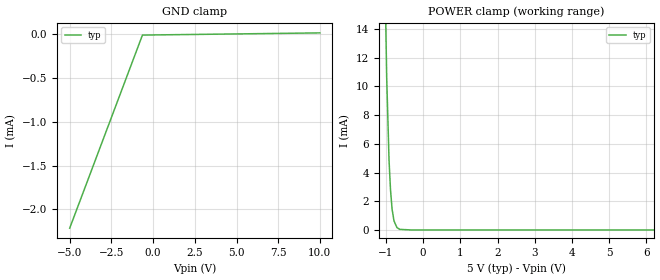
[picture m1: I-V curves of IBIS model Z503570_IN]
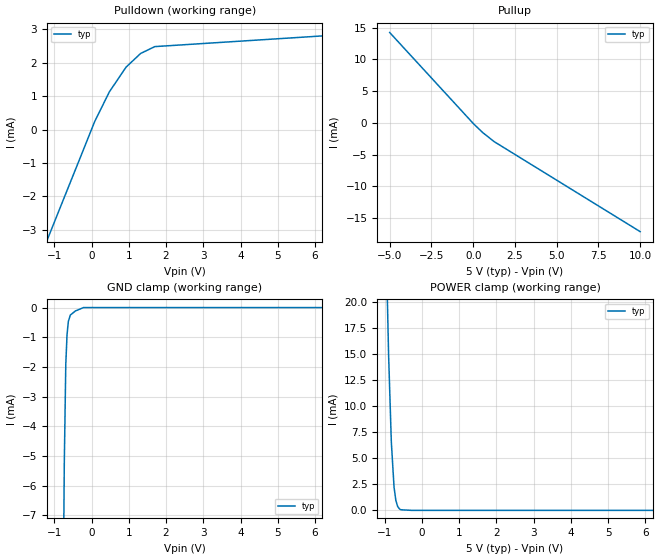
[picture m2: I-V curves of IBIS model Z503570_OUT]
| YOU ARE ONLY AUTHORIZED TO USE THIS SOFTWARE
| ACCORDING TO LICENSOR'S LICENSE RESTRICTIONS.
[IBIS Ver] 3.1
[File Name] mc14078bcl.ibs
[File Rev] 2.0
[Source] Measured and created by ICX Technology
[Date] Friday 7/14/00 9:07:53 AM
[Copyright]
| (C) COPYRIGHT 1993-2000
| MENTOR GRAPHICS CORPORATION
| ICX STANDARD LIBRARY, ICX PROJECT MODELING,
| ICX CUSTOM MODELING, ICX VENDOR MODEL
| ALL RIGHTS RESERVED.
| THE FOLLOWING ARE TRADEMARKS OR SERVICE MARKS OF
| MENTOR GRAPHICS CORPORATION:ICX (R), ICX STANDARD
| LIBRARY(R), ICX PROJECT MODELING(R), ICX CUSTOM
| MODELING(R), qualityIBIS(TM), MODELVIEWER(TM),
| AND MODELEDITOR(TM)
| ALL COPIES OF SOFTWARE, INCLUDING BUT NOT LIMITED TO
| ANY MODIFICATIONS, ENHANCEMENTS OR DERIVATIVE WORKS,
| MUST CONTAIN ALL MENTOR GRAPHICS CORPORATION'S
| NOTICES AND LEGENDS, INCLUDING THOSE EMBEDDED IN
| SOFTWARE AND THOSE AFFIXED TO SOFTWARE MEDIUM
| AND CONTAINER, AS RECEIVED FROM MENTOR GRAPHICS
| CORPORATION.
|  ZAP Model Builder 2.7
[Component] MC14078BCL
[Manufacturer] OnSemiconductor
[Package]
| variable   typ   min   max
R_pkg  .21ohms NA NA
L_pkg  4.543nH NA NA
C_pkg  1.8pF NA NA
[Pin] signal_name  model_name  R_pin  L_pin C_pin
1 NC NC .22 6.757n 2.434p
2 IN1 Z503570_IN .212 4.757n 1.941p
3 IN2 Z503570_IN .204 3.257n 1.448p
4 IN3 Z503570_IN .196 2.257n .955p
5 IN4 Z503570_IN .204 3.257n 1.448p
6 NC NC .212 4.757n 1.941p
7 VSS POWER .22 6.757n 2.434p
8 NC NC .22 6.757n 2.434p
9 IN5 Z503570_IN .212 4.757n 1.941p
10 IN6 Z503570_IN .204 3.257n 1.448p
11 IN7 Z503570_IN .196 2.257n .955p
12 IN8 Z503570_IN .204 3.257n 1.448p
13 OUT Z503570_OUT .212 4.757n 1.941p
14 VDD POWER .22 6.757n 2.434p
| Models and submodels in the file (2): Z503570_IN (Input), Z503570_OUT (Output)
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| (C) COPYRIGHT 1993-2000
| MENTOR GRAPHICS CORPORATION
| ICX STANDARD LIBRARY, ICX PROJECT MODELING,
| ICX CUSTOM MODELING, ICX VENDOR MODEL
| ALL RIGHTS RESERVED.
| THE FOLLOWING ARE TRADEMARKS OR SERVICE MARKS OF
| MENTOR GRAPHICS CORPORATION:ICX (R), ICX STANDARD
| LIBRARY(R), ICX PROJECT MODELING(R), ICX CUSTOM
| MODELING(R), qualityIBIS(TM), MODELVIEWER(TM),
| AND MODELEDITOR(TM)
| ALL COPIES OF SOFTWARE, INCLUDING BUT NOT LIMITED TO
| ANY MODIFICATIONS, ENHANCEMENTS OR DERIVATIVE WORKS,
| MUST CONTAIN ALL MENTOR GRAPHICS CORPORATION'S
| NOTICES AND LEGENDS, INCLUDING THOSE EMBEDDED IN
| SOFTWARE AND THOSE AFFIXED TO SOFTWARE MEDIUM
| AND CONTAINER, AS RECEIVED FROM MENTOR GRAPHICS
| CORPORATION.
| Model Application Version 1.89 2/18/99.
[Model] Z503570_IN
Model_type Input
Vinl = 1.500V
Vinh = 3.500V
C_comp 4.000pF NA NA
| variable typ   min   max
[Voltage Range] 5.000V NA NA
[GND Clamp Reference] 0.000V NA NA
[POWER Clamp Reference] 5.000V NA NA
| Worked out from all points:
|   POWER clamp passes 1 mA (typ) near -0.81 V on its own axis
[GND Clamp]
-5V       -2.213mA   NA         NA
-639.5mV  -11.47uA   NA         NA
10V       13.51uA    NA         NA
[POWER Clamp]
-5V       612.5mA    NA         NA
-981mV    10.65mA    NA         NA
-918mV    4.871mA    NA         NA
-879mV    2.826mA    NA         NA
-835mV    1.428mA    NA         NA
-784mV    626.7uA    NA         NA
-706mV    170.2uA    NA         NA
-630mV    41.43uA    NA         NA
-315mV    0A         NA         NA
10V       0A         NA         NA
| (C) COPYRIGHT 1993-2000
| MENTOR GRAPHICS CORPORATION
| ICX STANDARD LIBRARY, ICX PROJECT MODELING,
| ICX CUSTOM MODELING, ICX VENDOR MODEL
| ALL RIGHTS RESERVED.
| THE FOLLOWING ARE TRADEMARKS OR SERVICE MARKS OF
| MENTOR GRAPHICS CORPORATION:ICX (R), ICX STANDARD
| LIBRARY(R), ICX PROJECT MODELING(R), ICX CUSTOM
| MODELING(R), qualityIBIS(TM), MODELVIEWER(TM),
| AND MODELEDITOR(TM)
| ALL COPIES OF SOFTWARE, INCLUDING BUT NOT LIMITED TO
| ANY MODIFICATIONS, ENHANCEMENTS OR DERIVATIVE WORKS,
| MUST CONTAIN ALL MENTOR GRAPHICS CORPORATION'S
| NOTICES AND LEGENDS, INCLUDING THOSE EMBEDDED IN
| SOFTWARE AND THOSE AFFIXED TO SOFTWARE MEDIUM
| AND CONTAINER, AS RECEIVED FROM MENTOR GRAPHICS
| CORPORATION.
| Model Application Version 1.89 2/18/99.
[Model] Z503570_OUT
Model_type Output
Vref=0.000V
Rref=500.0Mohms
Cref=50.00pF
Vmeas=2.500V
C_comp 8.000pF NA NA
| variable typ   min   max
[Voltage Range] 5.000V NA NA
[POWER Clamp Reference] 5.000V NA NA
[Pullup Reference] 5.000V NA NA
[Pulldown Reference] 0.000V NA NA
[GND Clamp Reference] 0.000V NA NA
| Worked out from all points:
|   slope of the pulldown table from 0 to 0.75 V, typ, clamps not added: 477 ohm
|   slope of the pullup table from 0 to 0.75 V, typ, clamps not added: 412 ohm
|   GND clamp passes 1 mA (typ) near -0.66 V on its own axis
|   POWER clamp passes 1 mA (typ) near -0.70 V on its own axis
[GND Clamp]
-5V       -670.3mA   NA         NA
-733mV    -5.259mA   NA         NA
-692.6mV  -1.9mA     NA         NA
-659.2mV  -915.6uA   NA         NA
-625mV    -470.7uA   NA         NA
-570.6mV  -251.9uA   NA         NA
-434.6mV  -114.8uA   NA         NA
-217.3mV  0A         NA         NA
10V       0A         NA         NA
[Pulldown]
-5V       -13.89mA   NA         NA
84.61mV   240.8uA    NA         NA
475.4mV   1.123mA    NA         NA
924.5mV   1.865mA    NA         NA
1.319V    2.278mA    NA         NA
1.699V    2.482mA    NA         NA
10V       3.072mA    NA         NA
[Pullup]
-5V       14.24mA    NA         NA
24mV      -158.9uA   NA         NA
571mV     -1.539mA   NA         NA
1.25V     -2.956mA   NA         NA
10V       -17.16mA   NA         NA
[POWER Clamp]
-5V       684.7mA    NA         NA
-894mV    14.97mA    NA         NA
-820mV    6.556mA    NA         NA
-747mV    2.222mA    NA         NA
-699mV    963.7uA    NA         NA
-649mV    360uA      NA         NA
-595mV    113.8uA    NA         NA
-557mV    55.72uA    NA         NA
-278.5mV  0A         NA         NA
10V       0A         NA         NA
[Ramp]
| variable typ min max
dV/dt_r 2.602/15.84n NA NA
dV/dt_f 2.602/14.31n NA NA
R_load = 2.500kOhms
